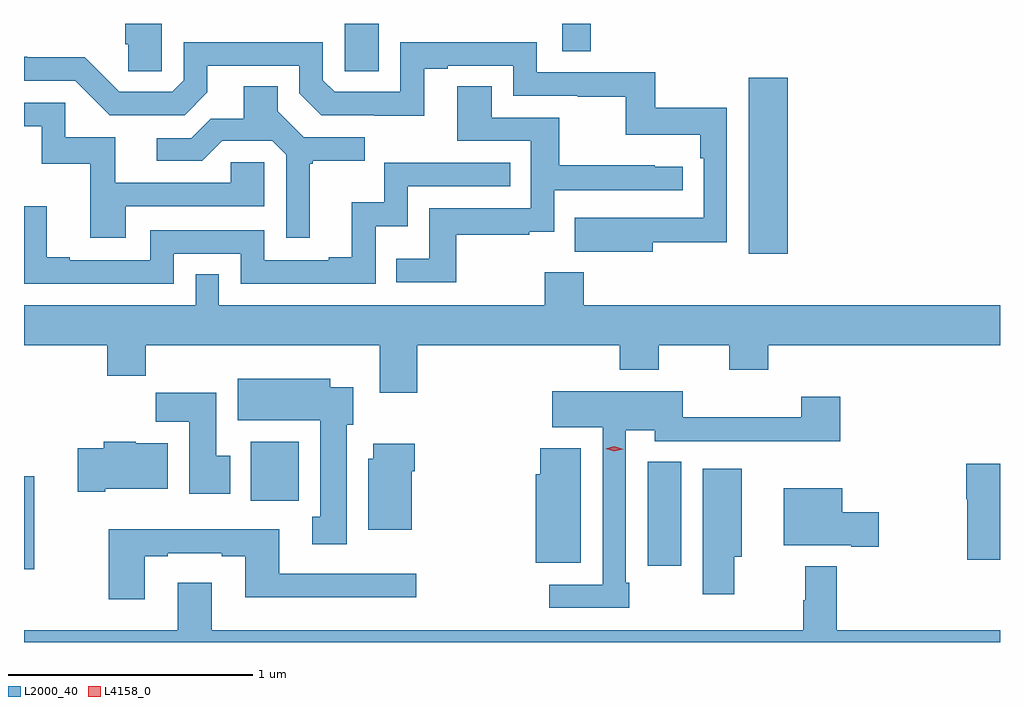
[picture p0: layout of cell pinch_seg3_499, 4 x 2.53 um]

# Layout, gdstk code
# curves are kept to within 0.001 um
import gdstk
lib = gdstk.Library(unit=1e-6, precision=1e-09)
def R(c, l, rs):  # rectangles x0, y0, x1, y1
    for r in rs: c.add(gdstk.rectangle(r[:2], r[2:], *l))
def P(c, l, *ps):  # polygons
    for p in ps: c.add(gdstk.Polygon(p, *l))
L2000_40 = (2000, 40)
L4158_0 = (4158, 0)

pinch_seg3_499 = lib.new_cell('pinch_seg3_499')
R(pinch_seg3_499, L2000_40, [(980.873,666.699,980.916,667.08), (983.429,666.714,983.566,667.139), (981.803,666.98,982,667.222), (983.843,667.992,984.004,668.713), (982.188,668.74,982.327,668.934), (983.079,668.821,983.195,668.934)])
P(pinch_seg3_499, L2000_40, [(981.438,668.934),(981.287,668.934),(981.287,668.85),(981.301,668.85),(981.301,668.74),(981.438,668.74)],
  [(983.449,668.038),(983.754,668.038),(983.754,668.59),(983.461,668.59),(983.461,668.736),(982.974,668.736),(982.974,668.859),(982.416,668.859),(982.416,668.655),(982.146,668.655),(982.098,668.703),(982.098,668.859),(981.528,668.859),(981.528,668.703),(981.48,668.655),(981.264,668.655),(981.122,668.797),(980.886,668.797),(980.886,668.8),(980.873,668.8),(980.873,668.7),(981.084,668.7),(981.225,668.559),(981.531,668.559),(981.625,668.653),(981.625,668.763),(982.002,668.763),(982.002,668.649),(982.092,668.559),(982.513,668.558),(982.513,668.751),(982.609,668.751),(982.609,668.763),(982.878,668.763),(982.878,668.64),(983.143,668.64),(983.143,668.635),(983.34,668.635),(983.34,668.48),(983.645,668.48),(983.645,668.384),(983.658,668.384),(983.658,668.139),(983.131,668.14),(983.131,668),(983.449,668)],
  [(982.045,668.361),(982.057,668.361),(982.057,668.372),(982.27,668.372),(982.27,668.469),(982.02,668.469),(981.913,668.576),(981.913,668.678),(981.773,668.678),(981.773,668.546),(981.638,668.546),(981.558,668.466),(981.417,668.466),(981.417,668.373),(981.604,668.373),(981.685,668.454),(981.891,668.454),(981.948,668.397),(981.948,668.058),(982.045,668.058)],
  [(982.645,668.07),(982.943,668.07),(982.943,668.081),(983.046,668.081),(983.046,668.253),(983.572,668.253),(983.572,668.349),(983.459,668.349),(983.459,668.354),(983.066,668.354),(983.066,668.55),(982.789,668.55),(982.789,668.678),(982.649,668.678),(982.649,668.454),(982.95,668.454),(982.95,668.178),(982.534,668.178),(982.534,667.972),(982.399,667.972),(982.399,667.875),(982.645,667.875)],
  [(981.289,668.187),(981.858,668.187),(981.858,668.367),(981.721,668.367),(981.721,668.283),(981.247,668.283),(981.247,668.469),(981.042,668.469),(981.042,668.61),(980.873,668.61),(980.873,668.514),(980.946,668.514),(980.946,668.361),(981.145,668.361),(981.145,668.058),(981.289,668.058)],
  [(981.486,667.992),(981.762,667.992),(981.762,667.869),(982.314,667.869),(982.314,668.105),(982.446,668.105),(982.446,668.268),(982.865,668.268),(982.865,668.364),(982.35,668.364),(982.35,668.203),(982.217,668.203),(982.217,667.978),(982.121,667.978),(982.121,667.965),(981.858,667.965),(981.858,668.088),(981.39,668.088),(981.39,667.965),(981.061,667.965),(981.061,667.978),(980.966,667.978),(980.966,668.186),(980.873,668.186),(980.873,667.869),(981.486,667.869)],
  [(981.672,667.907),(981.576,667.907),(981.576,667.78),(980.873,667.78),(980.873,667.616),(981.215,667.616),(981.215,667.492),(981.371,667.492),(981.371,667.616),(982.331,667.616),(982.331,667.422),(982.484,667.422),(982.484,667.616),(983.315,667.616),(983.315,667.517),(983.475,667.517),(983.475,667.616),(983.764,667.616),(983.764,667.517),(983.924,667.517),(983.924,667.616),(984.873,667.616),(984.873,667.78),(983.168,667.78),(983.168,667.915),(983.008,667.915),(983.008,667.78),(981.672,667.78)],
  [(982.195,667.29),(982.222,667.29),(982.222,667.444),(982.129,667.444),(982.129,667.48),(981.749,667.48),(981.749,667.31),(982.088,667.31),(982.088,666.914),(982.055,666.914),(982.055,666.801),(982.195,666.801)],
  [(983.353,666.643),(983.34,666.643),(983.34,667.268),(983.459,667.268),(983.459,667.224),(983.969,667.224),(983.969,667.223),(984.218,667.223),(984.218,667.405),(984.058,667.405),(984.058,667.322),(983.572,667.322),(983.572,667.429),(983.037,667.429),(983.037,667.28),(983.244,667.28),(983.244,666.636),(983.025,666.636),(983.025,666.54),(983.353,666.54)],
  [(981.718,667.164),(981.661,667.164),(981.661,667.422),(981.412,667.422),(981.412,667.304),(981.551,667.304),(981.551,667.008),(981.718,667.008)],
  [(981.205,667.028),(981.463,667.028),(981.463,667.216),(981.33,667.216),(981.33,667.222),(981.2,667.222),(981.2,667.194),(981.093,667.194),(981.093,667.016),(981.205,667.016)],
  [(982.462,667.1),(982.475,667.1),(982.475,667.213),(982.304,667.213),(982.304,667.152),(982.283,667.152),(982.283,666.86),(982.462,666.86)],
  [(983.155,667.195),(982.988,667.195),(982.988,667.089),(982.97,667.089),(982.97,666.725),(983.155,666.725)],
  [(984.873,667.132),(984.734,667.132),(984.734,666.986),(984.739,666.986),(984.739,666.738),(984.873,666.738)],
  [(983.784,666.749),(983.815,666.749),(983.815,667.111),(983.654,667.111),(983.654,666.597),(983.784,666.597)],
  [(984.376,666.932),(984.226,666.932),(984.226,667.03),(983.987,667.03),(983.987,666.797),(984.263,666.797),(984.263,666.79),(984.376,666.79)],
  [(981.367,666.753),(981.463,666.753),(981.463,666.765),(981.683,666.765),(981.683,666.753),(981.779,666.753),(981.779,666.584),(982.48,666.584),(982.48,666.681),(981.919,666.681),(981.919,666.862),(981.22,666.862),(981.22,666.576),(981.367,666.576)],
  [(984.873,666.448),(984.203,666.448),(984.203,666.712),(984.075,666.712),(984.075,666.572),(984.067,666.572),(984.067,666.448),(981.643,666.448),(981.643,666.643),(981.503,666.643),(981.503,666.448),(980.873,666.448),(980.873,666.4),(984.873,666.4)])
P(pinch_seg3_499, L4158_0, [(983.293,667.182),(983.258,667.192),(983.258,667.192),(983.258,667.193),(983.293,667.202),(983.328,667.191),(983.328,667.191),(983.328,667.191)])

lib.write_gds('pinch_seg3_499.gds')
